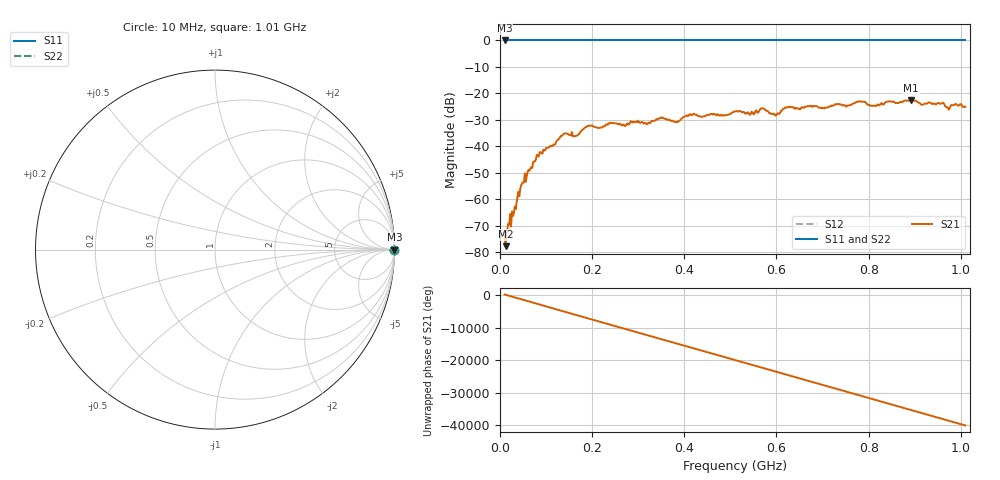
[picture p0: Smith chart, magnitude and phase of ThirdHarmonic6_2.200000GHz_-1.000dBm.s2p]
! 8/17/2025 2:13:28 AM
! C:\ANRITSUVNA\TEMP\TEMP.S2P
! CHANNEL.1
! TR.MEASUREMENT
! RAW.DATA
! RF.CORRECTION.OFF
! AVERAGING.OFF
! IF.BANDWIDTH: 5KHZ
! SWEEPTYPE:  FREQ.SWEEP(Linear)
! Reference Plane Port Info
! PORT:  PORT1  PORT2
! DISTANCE:  0  m  0  m
! TIME:  0  s  0  s
! PHASE.OFFSET:  0  deg.  0  deg.
! LOSS:  0  dB  0  dB
! REF.LOSS:  0  dB  0  dB
! REF.FREQ:  0  Hz  0  Hz
! Power Info
! POWER:  -20  dBm  -20  dBm
! EFF.POWER:  -20  dBm  -20  dBm
! SOURCE.ATTEN:  0  dB  0  dB
! TEST.ATTEN:  0  dB  0  dB
# GHZ S RI R 50.0
! FREQ.GHZ  S11RE  S11IM  S21RE  S21IM  S12RE  S12IM  S22RE  S22IM
!; PortSelection: Port_12
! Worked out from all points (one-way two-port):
!   501 points, 10 MHz to 1.01 GHz, reference 50 ohm
!   highest |S21| = -22.54 dB at 892 MHz (marker M1); lowest = -77.8 dB at 12 MHz (marker M2)
!   lowest |S11| = 0.0 dB at 10 MHz (marker M3)
!   |S11| at or under -10 dB: nowhere
!   |S22| runs from 0.0 to 0.0 dB; largest |S21 - S12| = 1.1
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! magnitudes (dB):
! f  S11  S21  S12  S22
! 10 MHz  0.0  -72.5  0.0  0.0
! 12 MHz  0.0  -77.8  0.0  0.0
! 50 MHz  0.0  -53.7  0.0  0.0
! 84 MHz  0.0  -43.9  0.0  0.0
! 136 MHz  0.0  -35.7  0.0  0.0
! 164 MHz  0.0  -36.1  0.0  0.0
! 178 MHz  0.0  -33.9  0.0  0.0
! 194 MHz  0.0  -32.2  0.0  0.0
! 344 MHz  0.0  -29.7  0.0  0.0
! 382 MHz  0.0  -30.7  0.0  0.0
! 416 MHz  0.0  -28.3  0.0  0.0
! 510 MHz  0.0  -26.9  0.0  0.0
! 546 MHz  0.0  -26.9  0.0  0.0
! 570 MHz  0.0  -25.6  0.0  0.0
! 596 MHz  0.0  -28.0  0.0  0.0
! 624 MHz  0.0  -25.2  0.0  0.0
! 678 MHz  0.0  -25.1  0.0  0.0
! 782 MHz  0.0  -23.1  0.0  0.0
! 812 MHz  0.0  -24.7  0.0  0.0
! 844 MHz  0.0  -23.0  0.0  0.0
! 892 MHz  0.0  -22.5  0.0  0.0
! 1.01 GHz  0.0  -25.1  0.0  0.0
